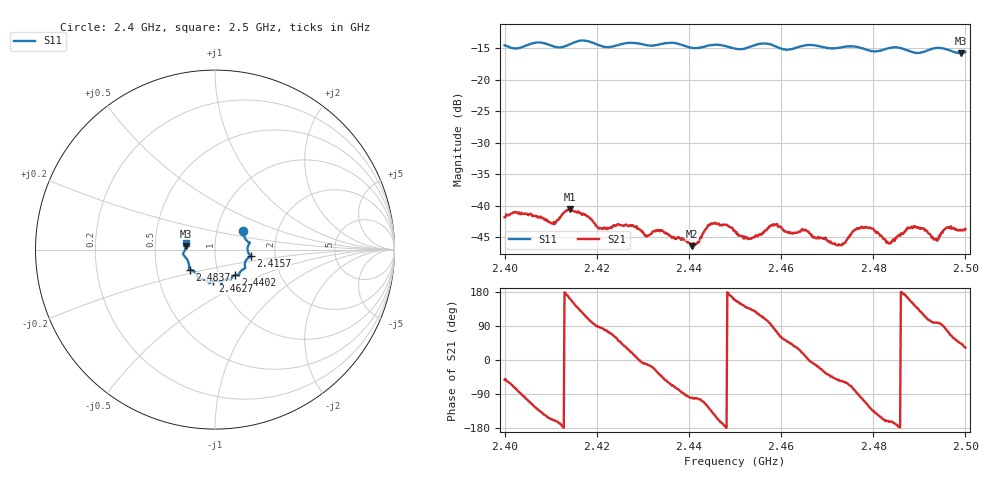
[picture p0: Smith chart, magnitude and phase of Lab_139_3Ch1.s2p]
# Hz S RI R 50
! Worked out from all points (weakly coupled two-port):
!   601 points, 2.4 GHz to 2.5 GHz, reference 50 ohm
!   highest |S21| = -40.55 dB at 2.4142 GHz (marker M1); lowest = -46.4 dB at 2.4407 GHz (marker M2)
!   lowest |S11| = -15.7 dB at 2.499 GHz (marker M3), VSWR 1.39, Z = 36 + j1.53 ohm
!   |S11| at or under -10 dB: start of sweep to end of sweep
!   S12 and S22 are empty: the file has one direction only
!   S11 on the Smith chart (normalised r, x): 2.4 GHz: 1.33, +0.29; 2.4157 GHz: 1.49, -0.11; 2.4402 GHz: 1.20, -0.35; 2.4627 GHz: 0.92, -0.34; 2.4837 GHz: 0.74, -0.17; 2.5 GHz: 0.72, +0.05
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2.4e9  0.1561 0.1056  0.00501 -0.00638  0 0  0 0
2.410667e9  0.1836 0.0181  -0.00697 -0.00267  0 0  0 0
2.414167e9  0.1903 -0.0254  -0.00892 0.00294  0 0  0 0
2.415667e9  0.1989 -0.0365  -0.00681 0.00568  0 0  0 0
2.416667e9  0.2017 -0.0399  -0.00539 0.00683  0 0  0 0
2.420833e9  0.1788 -0.0523  0.000554 0.00662  0 0  0 0
2.433333e9  0.1356 -0.1338  0.00528 -0.00354  0 0  0 0
2.440167e9  0.114 -0.1409  -0.000812 -0.005  0 0  0 0
2.440667e9  0.1096 -0.1424  -0.000778 -0.00472  0 0  0 0
2.445e9  0.0856 -0.1689  -0.00536 -0.00496  0 0  0 0
2.45e9  0.0636 -0.1655  -0.00586 0.00241  0 0  0 0
2.458667e9  0.0319 -0.183  0.00116 0.007  0 0  0 0
2.462667e9  -0.0111 -0.177  0.00477 0.00373  0 0  0 0
2.466667e9  -0.0325 -0.1866  0.00585 -0.000632  0 0  0 0
2.472667e9  -0.0743 -0.1643  0.00282 -0.00397  0 0  0 0
2.478833e9  -0.104 -0.1375  -0.00325 -0.00585  0 0  0 0
2.483333e9  -0.1391 -0.1124  -0.00478 -0.00159  0 0  0 0
2.483667e9  -0.1409 -0.1118  -0.00484 -0.00153  0 0  0 0
2.488667e9  -0.1457 -0.0786  -0.00571 0.00354  0 0  0 0
2.4935e9  -0.1771 -0.0274  -0.000806 0.00539  0 0  0 0
2.499e9  -0.1618 0.0206  0.00463 0.00439  0 0  0 0
2.5e9  -0.1623 0.0366  0.00554 0.00351  0 0  0 0
